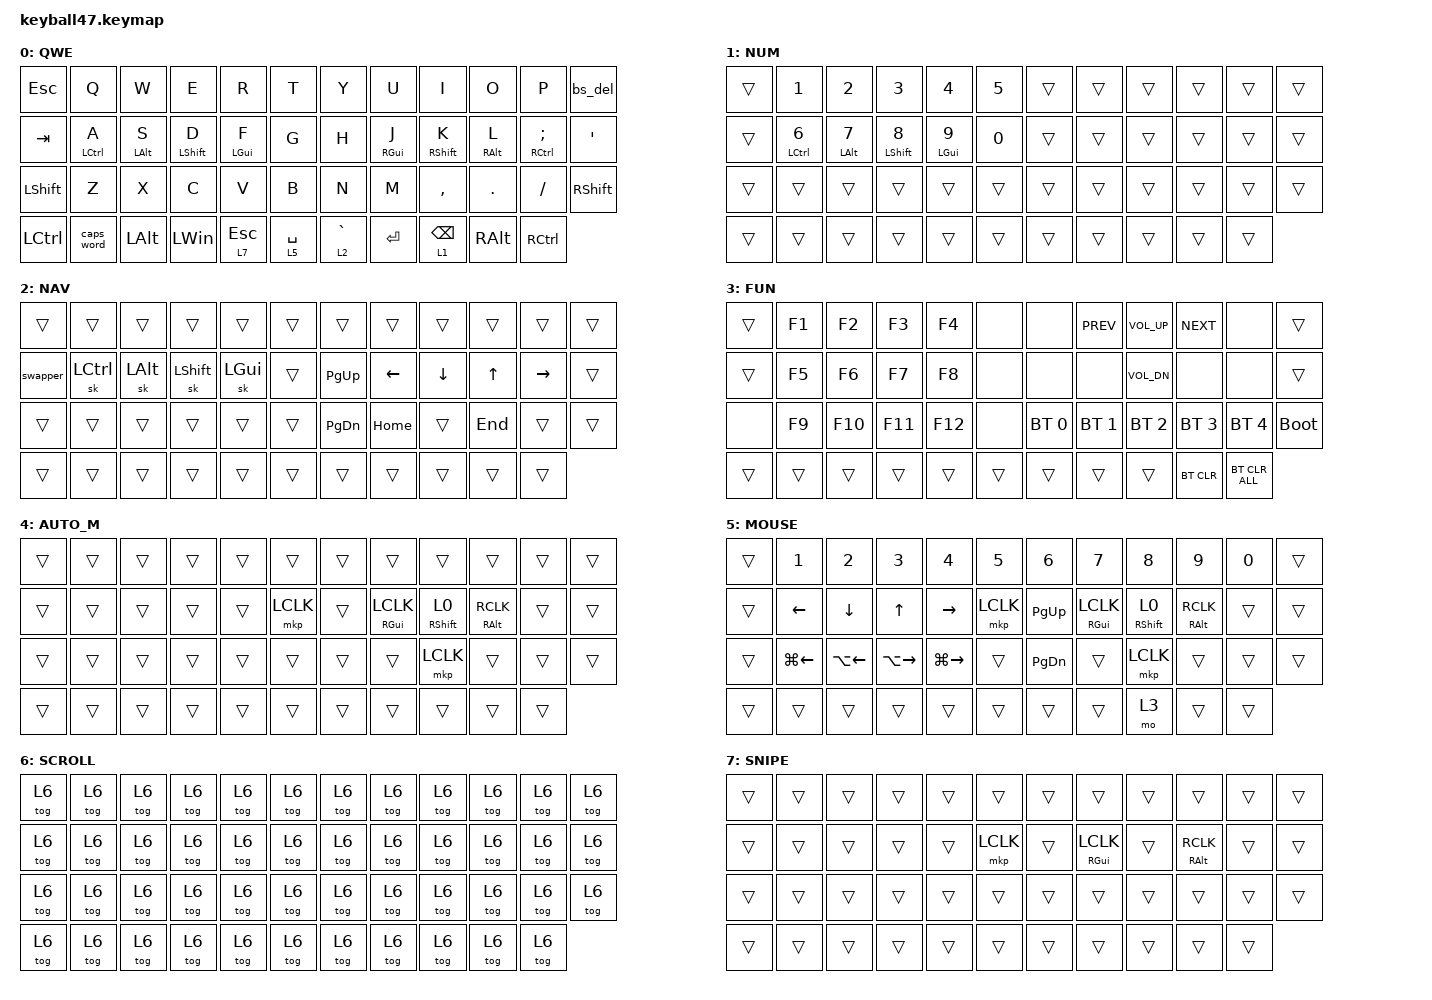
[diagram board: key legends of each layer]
#include <behaviors/mouse_keys.dtsi>
#include <dt-bindings/zmk/mouse.h>
#include <behaviors.dtsi>
#include <dt-bindings/zmk/bt.h>
#include <dt-bindings/zmk/keys.h>
#include <dt-bindings/zmk/pointing.h>

// ===================== Combo Macro =====================

#define ZMK_COMBO(NAME, BIND, KEYPOS, LAYER, TIMEOUT, IDLE) \
    combo_##NAME { \
        timeout-ms = <TIMEOUT>; \
        key-positions = <KEYPOS>; \
        bindings = <BIND>; \
        layers = <LAYER>; \
        require-prior-idle-ms = <IDLE>; \
        slow-release; \
    };

// ===================== 全局行为覆盖 =====================

&lt {
    tapping-term-ms = <220>;
    flavor = "balanced";
    quick-tap-ms = <150>;
};

&sk {
    release-after-ms = <1200>;
    quick-release;
};

&sl {
    ignore-modifiers;
};

&caps_word { continue-list = <UNDERSCORE MINUS>; };

// ===================== Combo 时序参数 =====================

#define COMBO_TERM_FAST 30
#define COMBO_TERM_SLOW 40
#define COMBO_TERM_HORIZ 55
#define COMBO_IDLE_FAST 150
#define COMBO_IDLE_SLOW 50
#define COMBO_IDLE_HORIZ 150

/ {
    // ===================== 行为定义 =====================

    behaviors {
        // --- Mod-Morph 标点 ---

        bs_del: bs_del {
            compatible = "zmk,behavior-mod-morph";
            #binding-cells = <0>;
            bindings = <&kp BSPC>, <&kp DEL>;
            mods = <(MOD_LSFT|MOD_RSFT)>;
        };

        // --- Timeless Home Row Mods ---

        hml: home_row_mod_left {
            compatible = "zmk,behavior-hold-tap";
            #binding-cells = <2>;
            flavor = "balanced";
            tapping-term-ms = <280>;
            quick-tap-ms = <175>;
            require-prior-idle-ms = <150>;
            bindings = <&kp>, <&kp>;
            hold-trigger-key-positions = <
                6  7  8  9  10 11
                18 19 20 21 22 23
                30 31 32 33 34 35
                42 43 44 45 46
            >;
            hold-trigger-on-release;
        };

        hmr: home_row_mod_right {
            compatible = "zmk,behavior-hold-tap";
            #binding-cells = <2>;
            flavor = "balanced";
            tapping-term-ms = <280>;
            quick-tap-ms = <175>;
            require-prior-idle-ms = <150>;
            bindings = <&kp>, <&kp>;
            hold-trigger-key-positions = <
                0  1  2  3  4  5
                12 13 14 15 16 17
                24 25 26 27 28 29
                36 37 38 39 40 41
            >;
            hold-trigger-on-release;
        };

        // [Fix 3] 删除 hml_ms：定义后从未在任何 layer 中引用，属于死代码。

        hmr_ms: hmr_ms {
            compatible = "zmk,behavior-hold-tap";
            #binding-cells = <2>;
            flavor = "tap-preferred";
            tapping-term-ms = <175>;
            quick-tap-ms = <175>;
            require-prior-idle-ms = <150>;
            bindings = <&kp>, <&mkp>;
            hold-trigger-key-positions = <
                0  1  2  3  4  5
                12 13 14 15 16 17
                24 25 26 27 28 29
                36 37 38 39 40 41
            >;
            hold-trigger-on-release;
        };

        // [Fix 2] swapper 保留定义，已移入 Nav 层 TAB 位置使用
        swapper: swapper {
            compatible = "zmk,behavior-tri-state";
            #binding-cells = <0>;
            bindings = <&kt LGUI>, <&kp TAB>, <&kt LGUI>;
            ignored-key-positions = <14 15 16>;
        };

        smart_scroll: smart_scroll {
            compatible = "zmk,behavior-auto-layer";
            #binding-cells = <1>;
            continue-list = <>; // 空白白名单：敲击任意按键都会立刻恢复基础层，并把刚敲击的键完整输出
        };

        // 鼠标层专用的 K 键行为：长按 Shift，短按滚轮切换
        ks_scroll: ks_scroll {
            compatible = "zmk,behavior-hold-tap";
            #binding-cells = <2>;
            flavor = "tap-preferred";
            tapping-term-ms = <200>;
            bindings = <&kp>, <&tog>;
        };
    };

    // ===================== Combos (替代符号层) =====================

    combos {
        compatible = "zmk,combos";

        // --- 左手便捷功能 (Z+X, Z+V, X+C, C+V, X+V) ---
        ZMK_COMBO(undo,  &kp LG(Z), 25 26, 0 5, COMBO_TERM_FAST, COMBO_IDLE_FAST)
        ZMK_COMBO(redo,  &kp LG(LS(Z)), 25 28, 0 5, COMBO_TERM_FAST, COMBO_IDLE_FAST)
        ZMK_COMBO(copy,  &kp LG(C), 26 27, 0 5, COMBO_TERM_FAST, COMBO_IDLE_FAST)
        ZMK_COMBO(paste, &kp LG(V), 27 28, 0 5, COMBO_TERM_FAST, COMBO_IDLE_FAST)
        ZMK_COMBO(cut,   &kp LG(X), 26 28, 0 5, COMBO_TERM_FAST, COMBO_IDLE_FAST)

        // --- 左手横向导航 Combos (Home Row) ---
        ZMK_COMBO(word_left,  &kp LC(LEFT),  13 14, 0 1, COMBO_TERM_SLOW, COMBO_IDLE_SLOW) // A+S
        ZMK_COMBO(word_up,    &kp LC(UP),    14 15, 0 1, COMBO_TERM_SLOW, COMBO_IDLE_SLOW) // S+D
        ZMK_COMBO(word_down,  &kp LC(DOWN),  13 16, 0 1, COMBO_TERM_SLOW, COMBO_IDLE_SLOW) // A+F
        ZMK_COMBO(word_right, &kp LC(RIGHT), 15 16, 0 1, COMBO_TERM_SLOW, COMBO_IDLE_SLOW) // D+F

        // --- 垂直上行 combos (顶行+中间行) ---
        ZMK_COMBO(excl,    &kp EXCL,   1 13, 0 1, COMBO_TERM_SLOW, COMBO_IDLE_SLOW)
        ZMK_COMBO(at,      &kp AT,     2 14, 0 1, COMBO_TERM_SLOW, COMBO_IDLE_SLOW)
        ZMK_COMBO(hash,    &kp HASH,   3 15, 0 1, COMBO_TERM_SLOW, COMBO_IDLE_SLOW)
        ZMK_COMBO(dollar,  &kp DLLR,   4 16, 0 1, COMBO_TERM_SLOW, COMBO_IDLE_SLOW)
        ZMK_COMBO(percent, &kp PRCNT,  5 17, 0 1, COMBO_TERM_SLOW, COMBO_IDLE_SLOW)
        ZMK_COMBO(caret,   &kp CARET,  6 18, 0 1, COMBO_TERM_SLOW, COMBO_IDLE_SLOW)
        ZMK_COMBO(amps,    &kp AMPS,   7 19, 0 1, COMBO_TERM_SLOW, COMBO_IDLE_SLOW)
        ZMK_COMBO(star,    &kp STAR,   8 20, 0 1, COMBO_TERM_SLOW, COMBO_IDLE_SLOW)
        ZMK_COMBO(lpar,    &kp LPAR,   9 21, 0 1, COMBO_TERM_SLOW, COMBO_IDLE_SLOW)
        ZMK_COMBO(rpar,    &kp RPAR,  10 22, 0 1, COMBO_TERM_SLOW, COMBO_IDLE_SLOW)

        // --- 横向 combos (右手中间/底排，五种基本符号 - = [ ] \) ---
        ZMK_COMBO(minus,   &kp MINUS, 19 20, 0 1 2, COMBO_TERM_HORIZ, COMBO_IDLE_HORIZ)
        ZMK_COMBO(lbkt,    &kp LBKT,  20 21, 0 1 2, COMBO_TERM_HORIZ, COMBO_IDLE_HORIZ)
        ZMK_COMBO(rbkt,    &kp RBKT,  21 22, 0 1 2, COMBO_TERM_HORIZ, COMBO_IDLE_HORIZ)
        ZMK_COMBO(equal,   &kp EQUAL, 31 32, 0 1 2, COMBO_TERM_HORIZ, COMBO_IDLE_HORIZ)
        ZMK_COMBO(bslh,    &kp BSLH,  32 33, 0 1 2, COMBO_TERM_HORIZ, COMBO_IDLE_HORIZ)
    };

    // ===================== 键映射 =====================

    keymap {
        compatible = "zmk,keymap";

        // Layer 0: QWERTY 基础层
        default_layer {
            display-name = "QWE";
            bindings = <
            &kp ESC    &kp Q         &kp W         &kp E        &kp R         &kp T                    &kp Y     &kp U          &kp I        &kp O       &kp P           &bs_del
            &kp TAB    &hml LCTRL A  &hml LALT S   &hml LSHFT D &hml LGUI F   &kp G                    &kp H     &hmr RGUI J    &hmr RSHFT K &hmr RALT L &hmr RCTRL SEMI &kp APOS
            &kp LSHFT  &kp Z         &kp X         &kp C        &kp V         &kp B                    &kp N     &kp M          &kp COMMA    &kp DOT     &kp FSLH        &kp RSHFT
            &kp LCTRL  &caps_word    &kp LEFT_ALT  &kp LEFT_WIN &lt 7 ESCAPE  &lt 5 SPACE  &lt 2 GRAVE &kp ENTER &lt 1 BSPC                 &kp RIGHT_ALT  &kp RCTRL
            >;
        };

        // Layer 1: 数字层 (Numword / hold / sticky)
        number_layer {
            display-name = "NUM";
            bindings = <
&trans  &kp N1         &kp N2         &kp N3          &kp N4         &kp N5                          &trans  &trans  &trans  &trans  &trans  &trans
&trans  &hml LCTRL N6  &hml LALT N7   &hml LSHFT N8   &hml LGUI N9   &kp N0                          &trans  &trans  &trans  &trans  &trans  &trans
&trans  &trans         &trans         &trans          &trans         &trans                          &trans  &trans  &trans  &trans  &trans  &trans
&trans  &trans         &trans         &trans          &trans         &trans  &trans    &trans  &trans                         &trans  &trans
            >;
        };

        // Layer 2: 导航层 (左手 sticky mods + 右手导航)
        // [Fix 2] TAB 位置（pos 12，行首 &trans）替换为 &swapper，实现 cmd+tab 应用切换
        nav_layer {
            display-name = "NAV";
            bindings = <
&trans    &trans     &trans     &trans      &trans     &trans                   &trans     &trans    &trans   &trans   &trans     &trans
&swapper  &sk LCTRL  &sk LALT   &sk LSHFT   &sk LGUI   &trans                   &kp PG_UP  &kp LEFT  &kp DOWN &kp UP   &kp RIGHT  &trans
&trans    &trans     &trans     &trans      &trans     &trans                   &kp PG_DN  &kp HOME  &trans   &kp END  &trans     &trans
&trans    &trans     &trans     &trans      &trans     &trans  &trans    &trans  &trans                                &trans     &trans
            >;
        };

        // Layer 3: 功能键层 (右侧附加媒体键及系统键)
        function_layer {
            display-name = "FUN";
            bindings = <
&trans  &kp F1  &kp F2   &kp F3   &kp F4   &none                     &none         &kp C_PREV    &kp C_VOL_UP  &kp C_NEXT    &none         &trans
&trans  &kp F5  &kp F6   &kp F7   &kp F8   &none                     &none         &none         &kp C_VOL_DN  &none         &none         &trans
&none   &kp F9  &kp F10  &kp F11  &kp F12  &none                     &bt BT_SEL 0  &bt BT_SEL 1  &bt BT_SEL 2  &bt BT_SEL 3  &bt BT_SEL 4  &bootloader
&trans  &trans  &trans   &trans   &trans   &trans  &trans    &trans   &trans                                      &bt BT_CLR    &bt BT_CLR_ALL
            >;
        };

        // Layer 4: 自动鼠标层 (轨迹球触发, home row 全透传)
        auto_mouse_layer {
            display-name = "AUTO_M";
            bindings = <
&trans  &trans  &trans  &trans  &trans  &trans            &trans      &trans             &trans             &trans  &trans  &trans
&trans  &trans  &trans  &trans  &trans  &mkp LCLK         &trans      &hmr_ms RGUI LCLK  &ks_scroll RSHFT 0  &hmr_ms RALT RCLK &trans  &trans
&trans  &trans  &trans  &trans  &trans  &trans            &trans      &trans             &mkp LCLK           &trans  &trans  &trans
&trans  &trans  &trans  &trans  &trans  &trans  &trans    &trans  &trans                                         &trans  &trans
            >;
        };

        // Layer 5: 手动鼠标层 (Smart-Mouse combo 或 lt 5 触发)
        mouse_layer {
            display-name = "MOUSE";
            bindings = <
&trans   &kp N1          &kp N2          &kp N3         &kp N4         &kp N5                    &kp N6         &kp N7     &kp N8     &kp N9     &kp N0     &trans
&trans   &kp LEFT_ARROW  &kp DOWN_ARROW  &kp UP_ARROW   &kp RIGHT      &mkp LCLK                 &kp PAGE_UP    &hmr_ms RGUI LCLK  &ks_scroll RSHFT 0     &hmr_ms RALT RCLK  &trans     &trans
&trans   &kp LG(LEFT)    &kp LA(LEFT)    &kp LA(RIGHT)  &kp LG(RIGHT)  &trans                    &kp PAGE_DOWN  &trans     &mkp LCLK    &trans     &trans     &trans
&trans   &trans          &trans          &trans         &trans         &trans  &trans    &trans  &mo 3                                         &trans     &trans
            >;
        };

        // Layer 6: 滚轮层
        scroll_layer {
            display-name = "SCROLL";
            bindings = <
&tog 6  &tog 6  &tog 6  &tog 6  &tog 6  &tog 6                    &tog 6  &tog 6  &tog 6  &tog 6  &tog 6  &tog 6
&tog 6  &tog 6  &tog 6  &tog 6  &tog 6  &tog 6                    &tog 6  &tog 6  &tog 6  &tog 6  &tog 6  &tog 6
&tog 6  &tog 6  &tog 6  &tog 6  &tog 6  &tog 6                    &tog 6  &tog 6  &tog 6  &tog 6  &tog 6  &tog 6
&tog 6  &tog 6  &tog 6  &tog 6  &tog 6  &tog 6  &tog 6    &tog 6  &tog 6                  &tog 6  &tog 6
            >;
        };

        // Layer 7: 精准指针层 (Snipe)
        snipe_layer {
            display-name = "SNIPE";
            bindings = <
&trans  &trans  &trans  &trans  &trans  &trans                         &trans  &trans                &trans  &trans             &trans  &trans
&trans  &trans  &trans  &trans  &trans  &mkp LCLK                      &trans  &hmr_ms RGUI LCLK  &trans  &hmr_ms RALT RCLK  &trans  &trans
&trans  &trans  &trans  &trans  &trans  &trans                         &trans  &trans                &trans  &trans             &trans  &trans
&trans  &trans  &trans  &trans  &trans  &trans       &trans    &trans  &trans                                                   &trans  &trans
            >;
        };
    };
};
